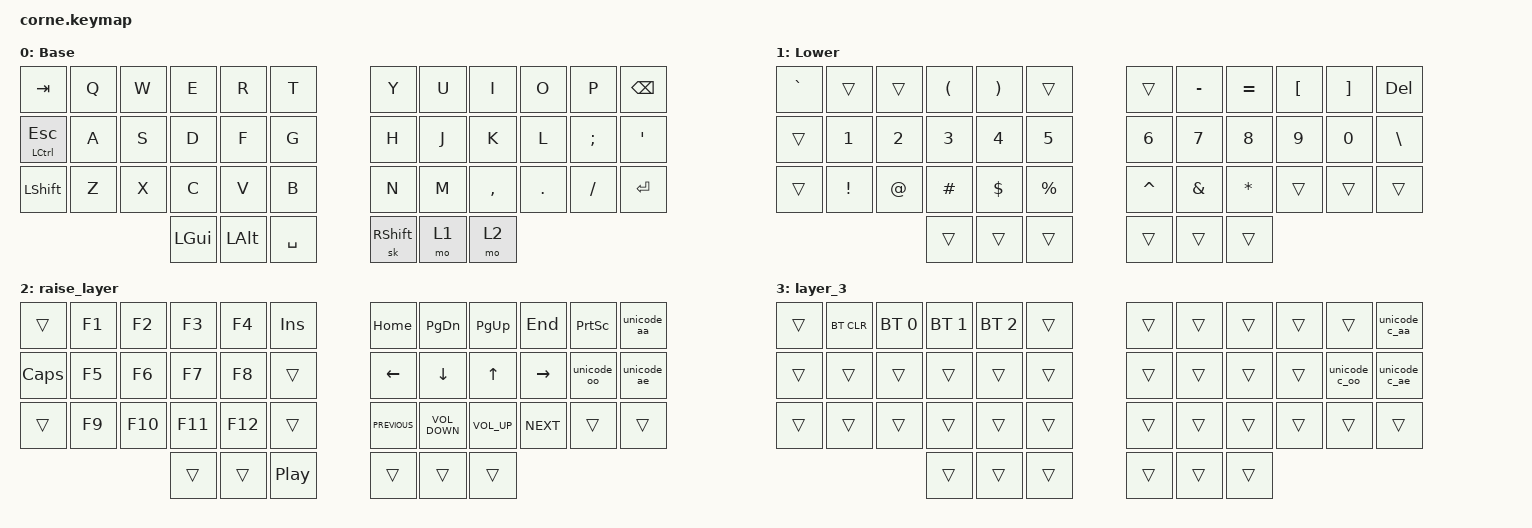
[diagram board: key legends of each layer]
/*
 * Copyright (c) 2020 The ZMK Contributors
 *
 * SPDX-License-Identifier: MIT
 */

#include <behaviors.dtsi>
#include <dt-bindings/zmk/bt.h>
#include <dt-bindings/zmk/keys.h>

/ {
    macros {
        unicode_oo: unicode_aa {
            compatible = "zmk,behavior-macro";
            #binding-cells = <0>;
            bindings =
                <&macro_tap_time 0>,
                <&kp LC(LS(U)) &kp N0 &kp N0 &kp F &kp N8 &kp ENTER>;

            label = "UNICODE_AA";
        };

        unicode_ae: unicode_ae {
            compatible = "zmk,behavior-macro";
            #binding-cells = <0>;
            bindings =
                <&macro_tap_time 0>,
                <&kp LC(LS(U)) &kp N0 &kp N0 &kp E &kp NUMBER_6 &kp ENTER>;

            label = "UNICODE_AE";
        };

        unicode_aa: unicod_aa {
            compatible = "zmk,behavior-macro";
            #binding-cells = <0>;
            bindings =
                <&macro_tap_time 0>,
                <&kp LC(LS(U)) &kp N0 &kp N0 &kp E &kp N5 &kp ENTER>;

            label = "UNICOD_AA";
        };

        shifted_base: shifted_base {
            compatible = "zmk,behavior-macro";
            #binding-cells = <0>;
            bindings =
                <&macro_wait_time 1>,
                <&macro_press>,
                <&kp LEFT_SHIFT>,
                <&macro_pause_for_release>,
                <&macro_release>,
                <&kp LEFT_SHIFT>;

            label = "SHIFTED_BASE";
        };

        unicode_c_aa: unicode_c_aa {
            compatible = "zmk,behavior-macro";
            #binding-cells = <0>;
            bindings =
                <&macro_tap_time 0>,
                <&kp LC(U) &kp KP_NUMBER_0 &kp KP_NUMBER_0 &kp C &kp KP_NUMBER_5 &kp ENTER>;

            label = "UNICODE_C_AA";
        };

        unicode_c_ae: unicode_c_ae {
            compatible = "zmk,behavior-macro";
            #binding-cells = <0>;
            bindings =
                <&macro_tap_time 0>,
                <&kp LC(RS(U)) &kp N0 &kp N0 &kp C &kp NUMBER_6 &kp ENTER>;

            label = "UNICODE_C_AE";
        };

        unicode_c_oo: unicode_c_oo {
            compatible = "zmk,behavior-macro";
            #binding-cells = <0>;
            bindings =
                <&macro_tap_time 0>,
                <&kp LC(RS(U)) &kp N0 &kp N0 &kp D &kp N8 &kp ENTER>;

            label = "UNICODE_C_OO";
        };
    };

    behaviors {
        shifted_raise: shifted_raise {
            compatible = "zmk,behavior-mod-morph";
            label = "SHIFTED_RAISE";
            bindings = <&mo 2>, <&mo 3>;

            #binding-cells = <0>;
            mods = <(MOD_LSFT)>;
        };
    };

    keymap {
        compatible = "zmk,keymap";

        default_layer {
            // -----------------------------------------------------------------------------------------
            // |  TAB |  Q  |  W  |  E  |  R  |  T  |   |  Y  |  U   |  I  |  O  |  P  | BKSP |
            // | CTRL |  A  |  S  |  D  |  F  |  G  |   |  H  |  J   |  K  |  L  |  ;  |  '   |
            // | SHFT |  Z  |  X  |  C  |  V  |  B  |   |  N  |  M   |  ,  |  .  |  /  | ESC  |
            //                    | GUI | LWR | SPC |   | ENT | RSE  | ALT |

            display-name = "Base";
            bindings = <
&kp TAB           &kp Q  &kp W  &kp E     &kp R         &kp T        &kp Y            &kp U  &kp I      &kp O    &kp P     &kp BSPC
&mt LCTRL ESCAPE  &kp A  &kp S  &kp D     &kp F         &kp G        &kp H            &kp J  &kp K      &kp L    &kp SEMI  &kp SQT
&kp LEFT_SHIFT    &kp Z  &kp X  &kp C     &kp V         &kp B        &kp N            &kp M  &kp COMMA  &kp DOT  &kp FSLH  &kp ENTER
                                &kp LGUI  &kp LEFT_ALT  &kp SPACE    &sk RIGHT_SHIFT  &mo 1  &mo 2
            >;
        };

        lower_layer {
            // -----------------------------------------------------------------------------------------
            // |  TAB |  1  |  2  |  3  |  4  |  5  |   |  6  |  7  |  8  |  9  |  0  | BKSP |
            // | BTCLR| BT1 | BT2 | BT3 | BT4 | BT5 |   | LFT | DWN |  UP | RGT |     |      |
            // | SHFT |     |     |     |     |     |   |     |     |     |     |     |      |
            //                    | GUI |     | SPC |   | ENT |     | ALT |

            display-name = "Lower";
            bindings = <
&kp GRAVE  &trans        &trans        &kp LEFT_PARENTHESIS  &kp RIGHT_PARENTHESIS  &trans         &trans        &kp MINUS      &kp EQUAL     &kp LEFT_BRACKET  &kp RIGHT_BRACKET  &kp DEL
&trans     &kp NUMBER_1  &kp NUMBER_2  &kp NUMBER_3          &kp NUMBER_4           &kp N5         &kp NUMBER_6  &kp NUMBER_7   &kp NUMBER_8  &kp NUMBER_9      &kp NUMBER_0       &kp BACKSLASH
&trans     &kp EXCL      &kp AT_SIGN   &kp HASH              &kp DOLLAR             &kp PERCENT    &kp CARET     &kp AMPERSAND  &kp ASTERISK  &trans            &trans             &trans
                                       &trans                &trans                 &trans         &trans        &trans         &trans
            >;
        };

        raise_layer {
            bindings = <
&trans        &kp F1  &kp F2   &kp F3   &kp F4   &kp INSERT          &kp HOME        &kp PAGE_DOWN      &kp PAGE_UP      &kp END     &kp PRINTSCREEN  &unicode_aa
&kp CAPSLOCK  &kp F5  &kp F6   &kp F7   &kp F8   &trans              &kp LEFT        &kp DOWN           &kp UP_ARROW     &kp RIGHT   &unicode_oo      &unicode_ae
&trans        &kp F9  &kp F10  &kp F11  &kp F12  &trans              &kp C_PREVIOUS  &kp C_VOLUME_DOWN  &kp C_VOLUME_UP  &kp C_NEXT  &trans           &trans
                               &trans   &trans   &kp C_PLAY_PAUSE    &trans          &trans             &trans
            >;
        };

        layer_3 {
            bindings = <
&trans  &bt BT_CLR  &bt BT_SEL 0  &bt BT_SEL 1  &bt BT_SEL 2  &trans    &trans  &trans  &trans  &trans  &trans         &unicode_c_aa
&trans  &trans      &trans        &trans        &trans        &trans    &trans  &trans  &trans  &trans  &unicode_c_oo  &unicode_c_ae
&trans  &trans      &trans        &trans        &trans        &trans    &trans  &trans  &trans  &trans  &trans         &trans
                                  &trans        &trans        &trans    &trans  &trans  &trans
            >;
        };
    };

    conditional_layers {
        compatible = "zmk,conditional-layers";

        third {
            if-layers = <1 2>;
            then-layer = <3>;
        };

        shifted_unicode {
            if-layers = <4 2>;
            then-layer = <3>;
        };
    };
};
